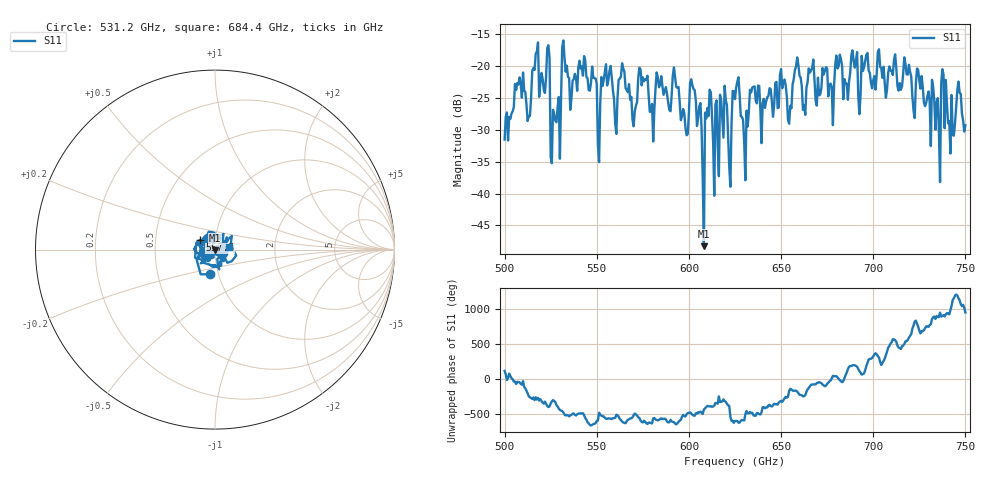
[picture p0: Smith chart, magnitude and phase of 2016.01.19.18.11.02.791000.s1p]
!Created with skrf (http://scikit-rf.org).
# GHz S RI R 50.0
!freq ReS11 ImS11
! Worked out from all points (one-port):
!   401 points, 500 GHz to 750 GHz, reference 50 ohm
!   lowest |S11| = -48.2 dB at 608.1 GHz (marker M1), VSWR 1.01, Z = 50.1 - j0.379 ohm
!   |S11| at or under -10 dB: start of sweep to end of sweep
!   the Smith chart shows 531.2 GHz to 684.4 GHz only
!   S11 on the Smith chart (normalised r, x): 531.2 GHz: 0.91, -0.26; 557.5 GHz: 0.84, +0.09; 684.4 GHz: 1.17, +0.04
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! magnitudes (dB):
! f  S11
! 500 GHz  -31.5
! 506.9 GHz  -22.7
! 513.1 GHz  -27.8
! 516.9 GHz  -18.1
! 523.1 GHz  -17.2
! 526.2 GHz  -26.9
! 531.2 GHz  -17.1
! 542.5 GHz  -21.5
! 551.9 GHz  -25.9
! 557.5 GHz  -20.0
! 562.5 GHz  -22.0
! 570.6 GHz  -27.1
! 573.8 GHz  -20.5
! 580 GHz  -25.9
! 593.8 GHz  -23.4
! 598.8 GHz  -30.8
! 601.9 GHz  -23.0
! 608.1 GHz  -48.2
! 610.6 GHz  -27.8
! 621.9 GHz  -35.8
! 625 GHz  -25.2
! 630.6 GHz  -37.9
! 634.4 GHz  -23.4
! 656.2 GHz  -22.9
! 684.4 GHz  -22.1
! 687.5 GHz  -21.0
! 718.8 GHz  -21.3
! 750 GHz  -29.3
